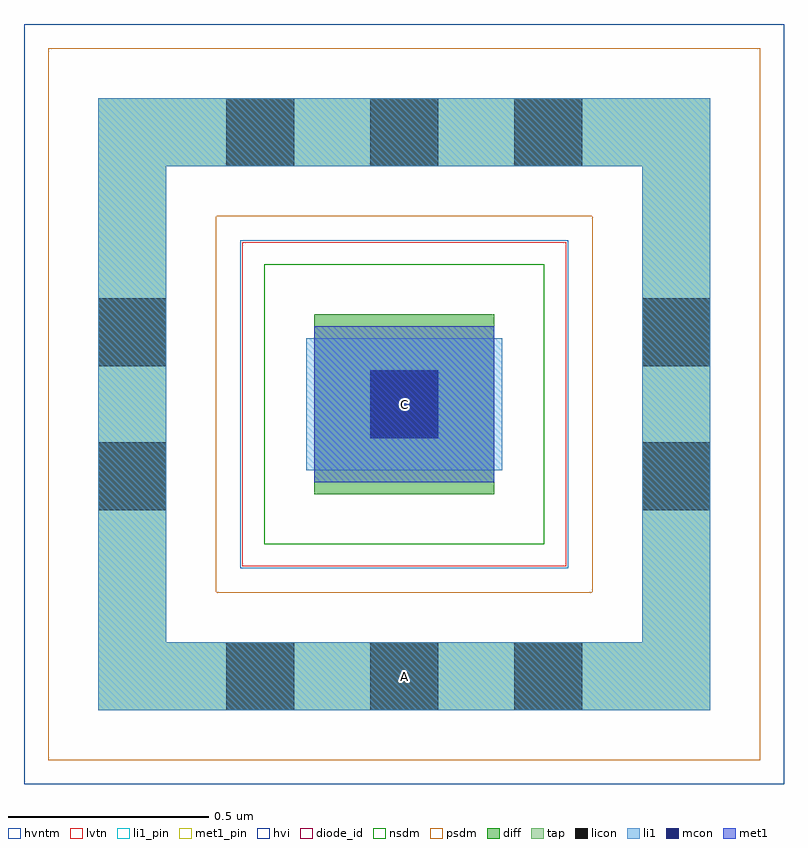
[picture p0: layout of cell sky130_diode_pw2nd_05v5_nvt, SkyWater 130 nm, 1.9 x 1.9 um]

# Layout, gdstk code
import gdstk
lib = gdstk.Library(unit=1e-6, precision=1e-09)
def R(c, l, rs):  # rectangles x0, y0, x1, y1
    for r in rs: c.add(gdstk.rectangle(r[:2], r[2:], *l))
def A(c, l, x, y, w, h, nx, ny, dx, dy):  # array of equal rectangles
    R(c, l, [(x+i*dx, y+j*dy, x+i*dx+w, y+j*dy+h) for i in range(nx) for j in range(ny)])
def P(c, l, *ps):  # polygons
    for p in ps: c.add(gdstk.Polygon(p, *l))
diff = (65, 20)
tap = (65, 44)
licon = (66, 44)
li1_pin = (67, 16)
li1 = (67, 20)
mcon = (67, 44)
met1_pin = (68, 16)
met1 = (68, 20)
hvi = (75, 20)
diode_id = (81, 23)
nsdm = (93, 44)
psdm = (94, 20)
hvntm = (125, 20)
lvtn = (125, 44)

n_diode = lib.new_cell('n_diode')
R(n_diode, diff, [(0,0,0.45,0.45)])
P(n_diode, tap, [(-0.54,-0.54),(-0.54,0.82),(-0.37,0.82),(-0.37,-0.37),(0.82,-0.37),(0.82,0.82),(-0.54,0.82),(-0.54,0.99),(0.99,0.99),(0.99,-0.54)])
A(n_diode, licon, -0.22, -0.54, 0.17, 0.17, 3, 2, 0.36, 1.36)
R(n_diode, licon, [(-0.54,-0.04,-0.37,0.13), (0.82,-0.04,0.99,0.13), (0.14,0.14,0.31,0.31), (-0.54,0.32,-0.37,0.49), (0.82,0.32,0.99,0.49)])
R(n_diode, li1, [(-0.02,0.06,0.47,0.39)])
P(n_diode, li1, [(-0.54,-0.54),(-0.54,0.82),(-0.37,0.82),(-0.37,-0.37),(0.82,-0.37),(0.82,0.82),(-0.54,0.82),(-0.54,0.99),(0.99,0.99),(0.99,-0.54)])
R(n_diode, mcon, [(0.14,0.14,0.31,0.31)])
R(n_diode, met1, [(0,0.03,0.45,0.42)])
R(n_diode, hvi, [(-0.725,-0.725,1.175,1.175)])
R(n_diode, diode_id, [(0,0,0.45,0.45)])
R(n_diode, nsdm, [(-0.125,-0.125,0.575,0.575)])
P(n_diode, psdm, [(-0.665,-0.665),(-0.665,0.695),(-0.245,0.695),(-0.245,-0.245),(0.695,-0.245),(0.695,0.695),(-0.665,0.695),(-0.665,1.115),(1.115,1.115),(1.115,-0.665)])
R(n_diode, hvntm, [(-0.185,-0.185,0.635,0.635)])
R(n_diode, lvtn, [(-0.18,-0.18,0.63,0.63)])

sky130_diode_pw2nd_05v5_ = lib.new_cell('sky130_diode_pw2nd_05v5_nvt')
R(sky130_diode_pw2nd_05v5_, li1_pin, [(0.14,-0.54,0.31,-0.37)])
R(sky130_diode_pw2nd_05v5_, met1_pin, [(0.14,0.14,0.31,0.31)])
sky130_diode_pw2nd_05v5_.add(gdstk.Reference(n_diode, (0,0)))
sky130_diode_pw2nd_05v5_.add(gdstk.Label('C', (0.225,0.225), layer=68, texttype=5))
sky130_diode_pw2nd_05v5_.add(gdstk.Label('A', (0.225,-0.455), layer=67, texttype=5))

lib.write_gds('sky130_diode_pw2nd_05v5_nvt.gds')
